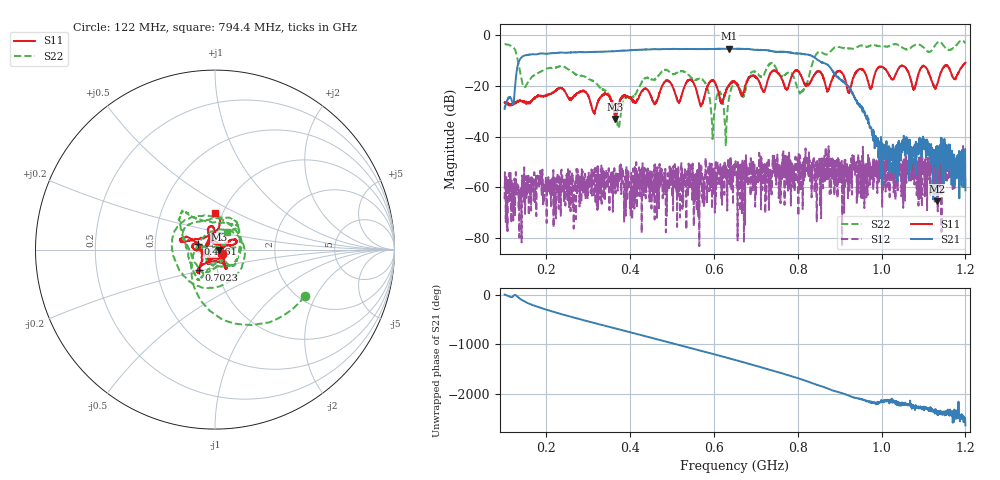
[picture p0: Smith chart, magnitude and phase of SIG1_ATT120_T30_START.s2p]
# Hz S RI R 50
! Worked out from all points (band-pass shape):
!   1601 points, 100 MHz to 1.2 GHz, reference 50 ohm
!   highest |S21| = -5.27 dB at 636.2 MHz (marker M1); lowest = -65.4 dB at 1.132 GHz (marker M2)
!   |S21| within 3 dB of the highest: 144.3 MHz to 834.2 MHz (689.9 MHz wide, 141 % of centre); 834.7199 MHz to 834.9599 MHz (240 kHz wide, 0.0288 % of centre)
!   lowest |S11| = -33.0 dB at 364 MHz (marker M3), VSWR 1.05, Z = 52.3 - j0.00268 ohm
!   |S11| at or under -10 dB: start of sweep to end of sweep
!   |S22| runs from -43.7 to -2.1 dB; largest |S21 - S12| = 0.54
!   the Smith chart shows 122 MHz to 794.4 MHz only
!   S11 on the Smith chart (normalised r, x): 122 MHz: 1.08, -0.05; 476.1 MHz: 0.82, +0.05; 702.2 MHz: 0.82, -0.19; 794.4 MHz: 0.92, +0.40
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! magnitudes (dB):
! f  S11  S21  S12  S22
! 100 MHz  -26.5  -29.1  -64.7  -3.6
! 122 MHz  -27.2  -26.3  -58.7  -5.0
! 147.4 MHz  -26.0  -8.0  -66.7  -20.5
! 283.6 MHz  -22.2  -6.7  -62.8  -16.0
! 364 MHz  -33.0  -6.3  -55.4  -29.8
! 404.6 MHz  -25.7  -5.9  -72.7  -24.4
! 467.1 MHz  -24.5  -5.5  -54.2  -16.0
! 476.1 MHz  -19.9  -5.5  -54.2  -14.4
! 515.9 MHz  -26.4  -5.5  -61.7  -14.3
! 544.1 MHz  -17.7  -5.5  -51.2  -16.5
! 573.7 MHz  -25.9  -5.5  -62.6  -17.7
! 597.1 MHz  -17.7  -5.5  -53.3  -39.3
! 610.8 MHz  -22.7  -5.5  -51.7  -22.6
! 627.3 MHz  -22.6  -5.3  -54.4  -40.4
! 636.2 MHz  -19.4  -5.3  -50.6  -24.2
! 650 MHz  -18.4  -5.4  -53.2  -19.0
! 702.2 MHz  -16.9  -5.8  -53.5  -15.0
! 794.4 MHz  -13.7  -7.2  -47.9  -18.3
! 833.6 MHz  -17.2  -8.1  -50.3  -11.9
! 1.017 GHz  -15.6  -50.4  -47.1  -4.3
! 1.132 GHz  -19.7  -65.4  -51.7  -3.1
! 1.2 GHz  -10.9  -61.2  -55.8  -3.1
